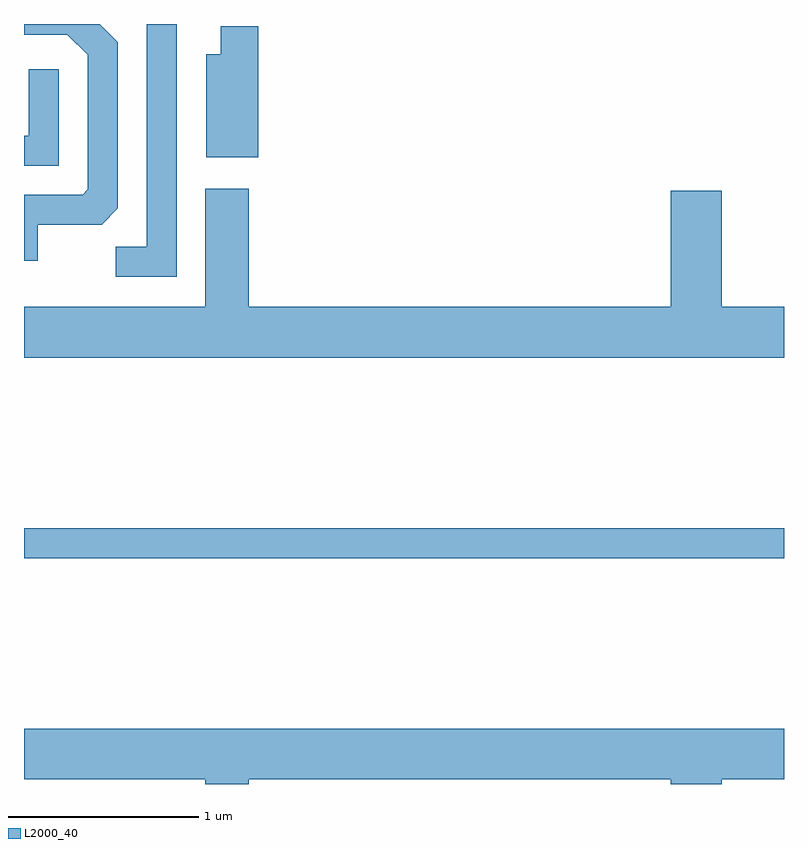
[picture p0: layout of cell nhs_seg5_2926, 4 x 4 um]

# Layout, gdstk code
import gdstk
lib = gdstk.Library(unit=1e-6, precision=1e-09)
def R(c, l, rs):  # rectangles x0, y0, x1, y1
    for r in rs: c.add(gdstk.rectangle(r[:2], r[2:], *l))
def P(c, l, *ps):  # polygons
    for p in ps: c.add(gdstk.Polygon(p, *l))
L2000_40 = (2000, 40)

nhs_seg5_2926 = lib.new_cell('nhs_seg5_2926')
R(nhs_seg5_2926, L2000_40, [(271.611,1491.261,275.611,1491.419)])
P(nhs_seg5_2926, L2000_40, [(271.684,1493.016),(272.019,1493.016),(272.104,1493.102),(272.104,1493.977),(272.009,1494.072),(271.611,1494.072),(271.611,1494.016),(271.839,1494.016),(271.946,1493.909),(271.946,1493.202),(271.919,1493.174),(271.611,1493.174),(271.611,1492.826),(271.684,1492.826)],
  [(272.414,1494.072),(272.256,1494.072),(272.256,1492.899),(272.093,1492.899),(272.093,1492.741),(272.414,1492.741)],
  [(272.844,1494.059),(272.646,1494.059),(272.646,1493.914),(272.571,1493.914),(272.571,1493.371),(272.844,1493.371)],
  [(271.794,1493.833),(271.636,1493.833),(271.636,1493.484),(271.611,1493.484),(271.611,1493.326),(271.794,1493.326)],
  [(275.611,1492.584),(275.284,1492.584),(275.284,1493.194),(275.016,1493.194),(275.016,1492.584),(272.794,1492.584),(272.794,1493.204),(272.566,1493.204),(272.566,1492.584),(271.611,1492.584),(271.611,1492.316),(275.611,1492.316)],
  [(272.794,1490.096),(275.016,1490.096),(275.016,1490.072),(275.284,1490.072),(275.284,1490.096),(275.611,1490.096),(275.611,1490.364),(271.611,1490.364),(271.611,1490.096),(272.566,1490.096),(272.566,1490.072),(272.794,1490.072)])

lib.write_gds('nhs_seg5_2926.gds')
